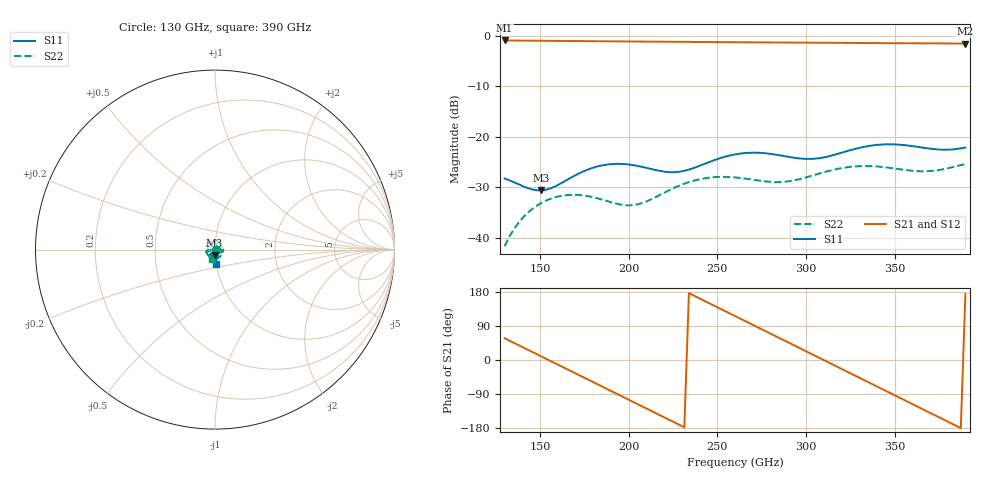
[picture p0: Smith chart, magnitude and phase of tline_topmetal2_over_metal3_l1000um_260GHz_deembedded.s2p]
! Created with skrf 2.0.1 (http://scikit-rf.org).
# GHz S DB R 50.0
!freq dBS11 angS11 dBS21 angS21 dBS12 angS12 dBS22 angS22
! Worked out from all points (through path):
!   101 points, 130 GHz to 390 GHz, reference 50 ohm
!   highest |S21| = -0.89 dB at 130 GHz (marker M1); lowest = -1.5 dB at 390 GHz (marker M2)
!   group delay of S21, straight-line fit = 6.44 ps
!   lowest |S11| = -30.6 dB at 150.8 GHz (marker M3), VSWR 1.06, Z = 49.7 - j2.92 ohm
!   |S11| at or under -10 dB: start of sweep to end of sweep
!   |S22| runs from -41.7 to -25.4 dB; largest |S21 - S12| = 1e-13
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130  -28.26 -106.2  -0.89 57.4  -0.89 57.4  -41.66 -3.0
150.8  -30.61 -94.5  -0.95 9.2  -0.95 9.2  -33.08 -82.6
161.2  -29.32 -82.1  -0.98 -14.9  -0.98 -14.9  -31.74 -118.9
174.2  -26.87 -81.2  -1.02 -45.0  -1.02 -45.0  -31.60 -167.4
184.6  -25.67 -87.3  -1.05 -69.1  -1.05 -69.1  -32.39 148.4
195  -25.34 -94.5  -1.08 -93.2  -1.08 -93.2  -33.39 95.9
205.4  -25.78 -99.4  -1.10 -117.3  -1.10 -117.3  -33.34 36.1
218.4  -26.80 -97.6  -1.13 -147.4  -1.13 -147.4  -31.37 -34.0
228.8  -26.90 -89.4  -1.16 -171.5  -1.16 -171.5  -29.63 -81.6
239.2  -25.84 -82.7  -1.18 164.3  -1.18 164.3  -28.46 -125.1
260  -23.47 -86.5  -1.24 116.1  -1.24 116.1  -28.03 149.1
270.4  -23.13 -92.1  -1.26 92.0  -1.26 92.0  -28.50 102.3
280.8  -23.40 -96.2  -1.28 67.9  -1.28 67.9  -28.93 51.0
293.8  -24.15 -95.7  -1.31 37.7  -1.31 37.7  -28.58 -16.7
304.2  -24.34 -90.1  -1.33 13.5  -1.33 13.5  -27.61 -68.3
314.6  -23.69 -84.6  -1.35 -10.6  -1.35 -10.6  -26.60 -115.7
325  -22.64 -83.4  -1.38 -34.8  -1.38 -34.8  -25.95 -160.4
338  -21.67 -87.2  -1.41 -65.0  -1.41 -65.0  -25.81 144.4
348.4  -21.47 -91.6  -1.43 -89.1  -1.43 -89.1  -26.18 98.2
358.8  -21.77 -94.6  -1.44 -113.3  -1.44 -113.3  -26.67 48.3
371.8  -22.40 -93.3  -1.47 -143.5  -1.47 -143.5  -26.72 -18.4
390  -22.11 -84.5  -1.50 174.1  -1.50 174.1  -25.38 -108.2
